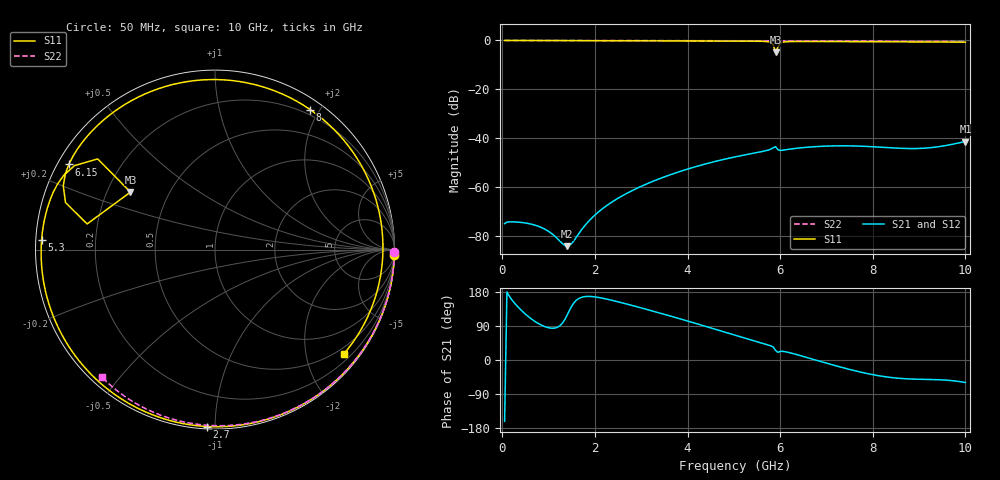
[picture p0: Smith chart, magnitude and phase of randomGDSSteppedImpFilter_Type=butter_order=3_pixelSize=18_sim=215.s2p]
! freq	dB(S11)	phase(S11)	dB(S12)	phase(S12)
!  dB(S21)	phase(S21)	dB(S22)	phase(S22)
!S-par simulation data
#  GHz  S  DB  R 50
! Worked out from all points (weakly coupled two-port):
!   200 points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, 50 MHz to 10 GHz, reference 50 ohm
!   highest |S21| = -41.25 dB at 10 GHz (marker M1); lowest = -84.0 dB at 1.4 GHz (marker M2)
!   lowest |S11| = -4.9 dB at 5.9 GHz (marker M3), VSWR 3.65, Z = 14.9 + j14.1 ohm
!   |S11| at or under -10 dB: nowhere
!   |S22| runs from -0.4 to 0.0 dB; largest |S21 - S12| = 0
!   S11 on the Smith chart (normalised r, x): 50 MHz: 0, -65; 2.7 GHz: 0.01, -0.96; 5.3 GHz: 0.02, +0.03; 6.15 GHz: 0.03, +0.27; 8 GHz: 0.13, +1.88; 10 GHz: 0.35, -2.79
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0.05  -0.00 -1.8  -74.76 -162.0  -74.76 -162.0  -0.00 -0.8
0.6  -0.02 -21.2  -74.86 110.9  -74.86 110.9  -0.01 -9.1
1.4  -0.06 -48.9  -83.97 118.3  -83.97 118.3  -0.03 -21.1
1.6  -0.07 -55.7  -80.28 157.8  -80.28 157.8  -0.03 -24.1
1.75  -0.08 -60.8  -76.34 166.6  -76.34 166.6  -0.03 -26.3
2.7  -0.12 -92.5  -62.29 147.3  -62.29 147.3  -0.05 -40.1
3.4  -0.15 -115.7  -56.40 123.9  -56.40 123.9  -0.07 -50.1
4.3  -0.20 -146.1  -50.85 92.1  -50.85 92.1  -0.09 -62.4
5.05  -0.26 -173.3  -47.43 64.6  -47.43 64.6  -0.11 -72.4
5.3  -0.29 176.8  -46.48 55.4  -46.48 55.4  -0.12 -75.7
5.75  -0.54 153.9  -44.70 39.3  -44.70 39.3  -0.14 -81.4
5.85  -1.66 142.3  -43.78 34.2  -43.78 34.2  -0.14 -82.7
5.9  -4.89 145.8  -43.35 25.5  -43.35 25.5  -0.14 -83.3
5.95  -2.77 168.7  -44.56 20.2  -44.56 20.2  -0.14 -84.0
6  -1.18 162.5  -44.91 22.5  -44.91 22.5  -0.15 -84.6
6.15  -0.51 149.8  -44.51 20.9  -44.51 20.9  -0.15 -86.5
6.7  -0.43 121.7  -43.43 2.2  -43.43 2.2  -0.18 -93.3
7.35  -0.47 89.4  -43.00 -20.2  -43.00 -20.2  -0.22 -101.1
8  -0.51 55.7  -43.38 -38.7  -43.38 -38.7  -0.26 -108.8
8.35  -0.53 37.6  -43.78 -45.5  -43.78 -45.5  -0.29 -112.9
9.1  -0.58 0.3  -43.99 -51.1  -43.99 -51.1  -0.35 -121.5
10  -0.69 -38.9  -41.25 -59.4  -41.25 -59.4  -0.45 -131.7
